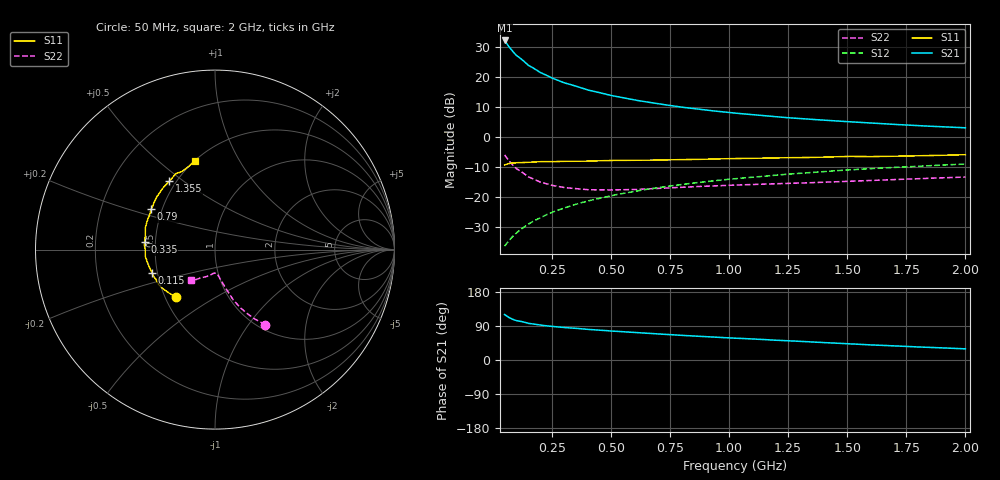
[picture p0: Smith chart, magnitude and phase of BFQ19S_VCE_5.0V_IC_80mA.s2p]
! Infineon Technologies  Discrete & RF Semiconductors
! BFQ19S
! VCE =  5.0 V,  IC =  80 mA
! Common Emitter S-Parameters:  Jan 2016
# GHz  S  MA  R  50
!  f  S11  S21  S12  S22
! GHz  MAG  ANG  MAG  ANG  MAG  ANG  MAG  ANG
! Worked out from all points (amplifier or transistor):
!   391 points, 50 MHz to 2 GHz, reference 50 ohm
!   highest |S21| = 32.2 dB at 50 MHz (marker M1)
!   |S21| within 3 dB of that: start of sweep to 77.53 MHz
!   unconditionally stable (mu >= 1): 222.9 MHz to 1.714 GHz
!   at 375 MHz: K = 1.03, MAG = 18.1 dB, |S12| = -21.9 dB
!   at 1.025 GHz: K = 1.03, MAG = 9.8 dB, |S12| = -13.9 dB
!   at 2 GHz: K = 0.97, MSG = 6.0 dB, |S12| = -9.0 dB
!   S11 on the Smith chart (normalised r, x): 50 MHz: 0.57, -0.34; 115 MHz: 0.47, -0.14; 335 MHz: 0.44, +0.05; 790 MHz: 0.44, +0.24; 1.355 GHz: 0.46, +0.44; 2 GHz: 0.50, +0.67
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0.05  0.3426 -129.4  40.97 120.0  0.0151 68.1  0.5034 -56.2
0.06  0.3531 -137.1  35.77 115.3  0.017 68.3  0.4426 -60.4
0.07  0.3642 -143.8  31.56 111.6  0.0191 68.2  0.3944 -63.6
0.08  0.3695 -148.6  28.18 108.5  0.021 69.6  0.3556 -66.2
0.09  0.3678 -152.9  25.41 106.0  0.0232 70.2  0.3235 -68.4
0.1  0.3729 -156.1  23.06 103.9  0.0251 70.9  0.2967 -70.1
0.115  0.3739 -159.4  20.86 102.3  0.0281 71.9  0.2727 -71.3
0.15  0.3812 -167.1  15.81 96.8  0.0351 73.5  0.2174 -75.1
0.2  0.39 -174.4  12.02 92.1  0.045 74.5  0.1778 -78.3
0.25  0.3882 -179.9  9.668 88.6  0.0552 75.2  0.1565 -81.2
0.3  0.3945 176.3  8.103 85.8  0.0651 74.9  0.1438 -83.3
0.335  0.3943 173.6  7.406 84.4  0.0721 74.6  0.1397 -84.7
0.375  0.3952 170.5  6.617 82.4  0.0802 74.3  0.135 -86.4
0.4  0.3963 168.6  6.128 80.9  0.0852 74.1  0.1322 -87.5
0.5  0.4073 162.2  4.95 76.5  0.1049 72.8  0.131 -90.8
0.7  0.413 152.1  3.584 68.7  0.1435 69.6  0.1393 -97.6
0.79  0.4203 147.7  3.197 65.4  0.16 67.9  0.1454 -100.9
1.03  0.4384 137.2  2.499 57.5  0.2027 63.6  0.1583 -108.0
1.35  0.4574 124.0  1.976 47.7  0.2574 58.0  0.1733 -115.9
1.355  0.4578 123.8  1.97 47.5  0.2582 57.9  0.1735 -116.0
1.675  0.477 110.9  1.647 37.9  0.3083 52.1  0.1939 -121.4
2  0.5073 102.9  1.427 29.4  0.3546 46.6  0.2151 -128.2
